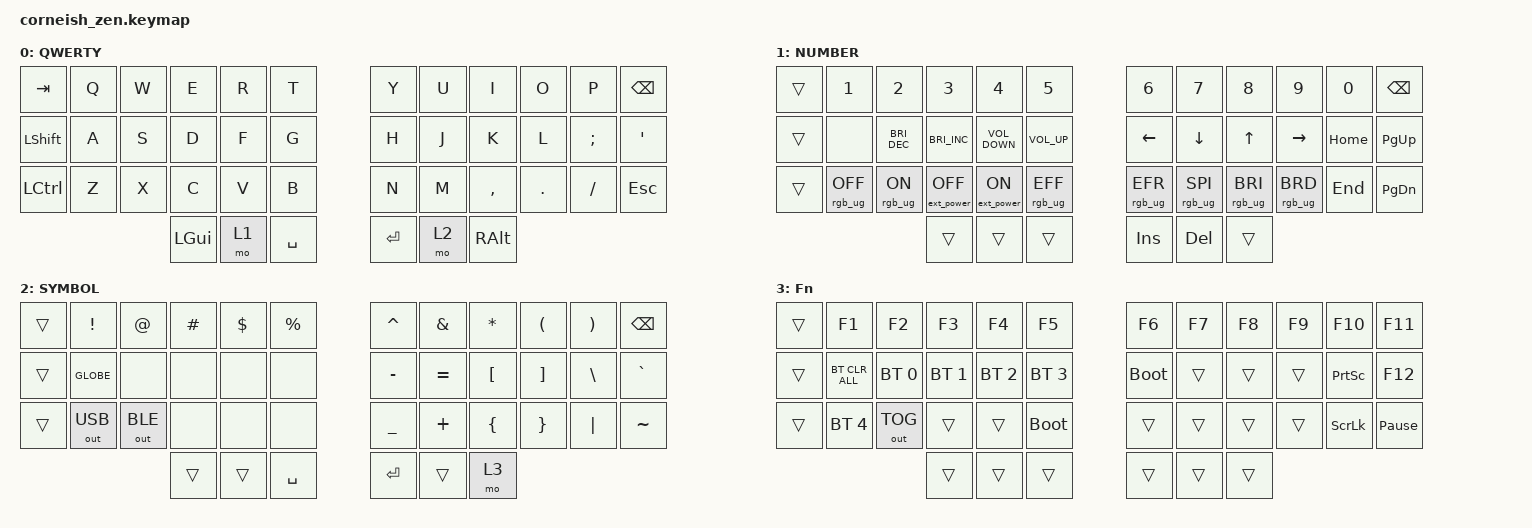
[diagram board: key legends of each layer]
/*
 * Copyright (c) 2020 The ZMK Contributors
 *
 * SPDX-License-Identifier: MIT
 */

#include <behaviors.dtsi>
#include <dt-bindings/zmk/bt.h>
#include <dt-bindings/zmk/ext_power.h>
#include <dt-bindings/zmk/keys.h>
#include <dt-bindings/zmk/outputs.h>
#include <dt-bindings/zmk/rgb.h>

/ {
    chosen {
        zmk,matrix_transform = &default_transform;

        // zmk,matrix_transform = &five_column_transform;
    };
};

/ {
    behaviors {
        td0: td0 {
            compatible = "zmk,behavior-tap-dance";
            label = "TD0";
            #binding-cells = <0>;
            bindings = <&kp LEFT_SHIFT>, <&kp CAPS>;
        };
    };

    keymap {
        compatible = "zmk,keymap";

        default_layer {
            display-name = "QWERTY";

            // --------------------------------------------------------------------------------
            // |  TAB |  Q  |  W  |  E  |  R  |  T  |   |  Y  |  U   |  I  |  O  |  P  | BKSP |
            // | CTRL |  A  |  S  |  D  |  F  |  G  |   |  H  |  J   |  K  |  L  |  ;  |  '   | 
            // | SHFT |  Z  |  X  |  C  |  V  |  B  |   |  N  |  M   |  ,  |  .  |  /  | ESC  |
            //                    | GUI | LWR | SPC |   | ENT | RSE  | ALT |

            bindings = <
&kp TAB         &kp Q  &kp W  &kp E     &kp R  &kp T        &kp Y       &kp U  &kp I      &kp O    &kp P     &kp BSPC
&kp LEFT_SHIFT  &kp A  &kp S  &kp D     &kp F  &kp G        &kp H       &kp J  &kp K      &kp L    &kp SEMI  &kp SQT
&kp LCTRL       &kp Z  &kp X  &kp C     &kp V  &kp B        &kp N       &kp M  &kp COMMA  &kp DOT  &kp FSLH  &kp ESC
                              &kp LGUI  &mo 1  &kp SPACE    &kp RETURN  &mo 2  &kp RALT
            >;
        };

        lower_layer {
            display-name = "NUMBER";

            // -----------------------------------------------------------------------------------------
            // |  TAB |  1  |  2  |  3  |  4  |  5  |   |  6  |  7  |  8  |  9  |  0  | BKSP |
            // | BTCLR| BT1 | BT2 | BT3 | BT4 | BT5 |   | LFT | DWN |  UP | RGT |     |      |
            // | SHFT |     |     |     |     |     |   |     |     |     |     |     |      |
            //                    | GUI |     | SPC |   | ENT |     | ALT |

            bindings = <
&trans  &kp N1           &kp N2          &kp N3                &kp N4             &kp N5             &kp N6           &kp N7           &kp N8           &kp N9           &kp N0    &kp BSPC
&trans  &none            &kp C_BRI_DEC   &kp C_BRIGHTNESS_INC  &kp C_VOLUME_DOWN  &kp C_VOLUME_UP    &kp LEFT         &kp DOWN         &kp UP           &kp RIGHT        &kp HOME  &kp PG_UP
&trans  &rgb_ug RGB_OFF  &rgb_ug RGB_ON  &ext_power EP_OFF     &ext_power EP_ON   &rgb_ug RGB_EFF    &rgb_ug RGB_EFR  &rgb_ug RGB_SPI  &rgb_ug RGB_BRI  &rgb_ug RGB_BRD  &kp END   &kp PG_DN
                                         &trans                &trans             &trans             &kp INS          &kp DEL          &trans
            >;
        };

        raise_layer {
            display-name = "SYMBOL";

            // -----------------------------------------------------------------------------------------
            // |  TAB |  !  |  @  |  #  |  $  |  %  |   |  ^  |  &  |  *  |  (  |  )  | BKSP |
            // | CTRL |     |     |     |     |     |   |  -  |  =  |  [  |  ]  |  \  |  `   |
            // | SHFT |     |     |     |     |     |   |  _  |  +  |  {  |  }  | "|" |  ~   |
            //                    | GUI |     | SPC |   | ENT |     | ALT |

            bindings = <
&trans  &kp EXCL      &kp AT        &kp HASH  &kp DLLR  &kp PRCNT    &kp CARET  &kp AMPS   &kp ASTRK  &kp LPAR  &kp RPAR  &kp BSPC
&trans  &kp GLOBE     &none         &none     &none     &none        &kp MINUS  &kp EQUAL  &kp LBKT   &kp RBKT  &kp BSLH  &kp GRAVE
&trans  &out OUT_USB  &out OUT_BLE  &none     &none     &none        &kp UNDER  &kp PLUS   &kp LBRC   &kp RBRC  &kp PIPE  &kp TILDE
                                    &trans    &trans    &kp SPACE    &kp RET    &trans     &mo 3
            >;
        };

        layer_3 {
            display-name = "Fn";
            bindings = <
&trans  &kp F1          &kp F2        &kp F3        &kp F4        &kp F5          &kp F6       &kp F7  &kp F8  &kp F9  &kp F10          &kp F11
&trans  &bt BT_CLR_ALL  &bt BT_SEL 0  &bt BT_SEL 1  &bt BT_SEL 2  &bt BT_SEL 3    &bootloader  &trans  &trans  &trans  &kp PRINTSCREEN  &kp F12
&trans  &bt BT_SEL 4    &out OUT_TOG  &trans        &trans        &bootloader     &trans       &trans  &trans  &trans  &kp SCROLLLOCK   &kp PAUSE_BREAK
                                      &trans        &trans        &trans          &trans       &trans  &trans
            >;
        };
    };
};
